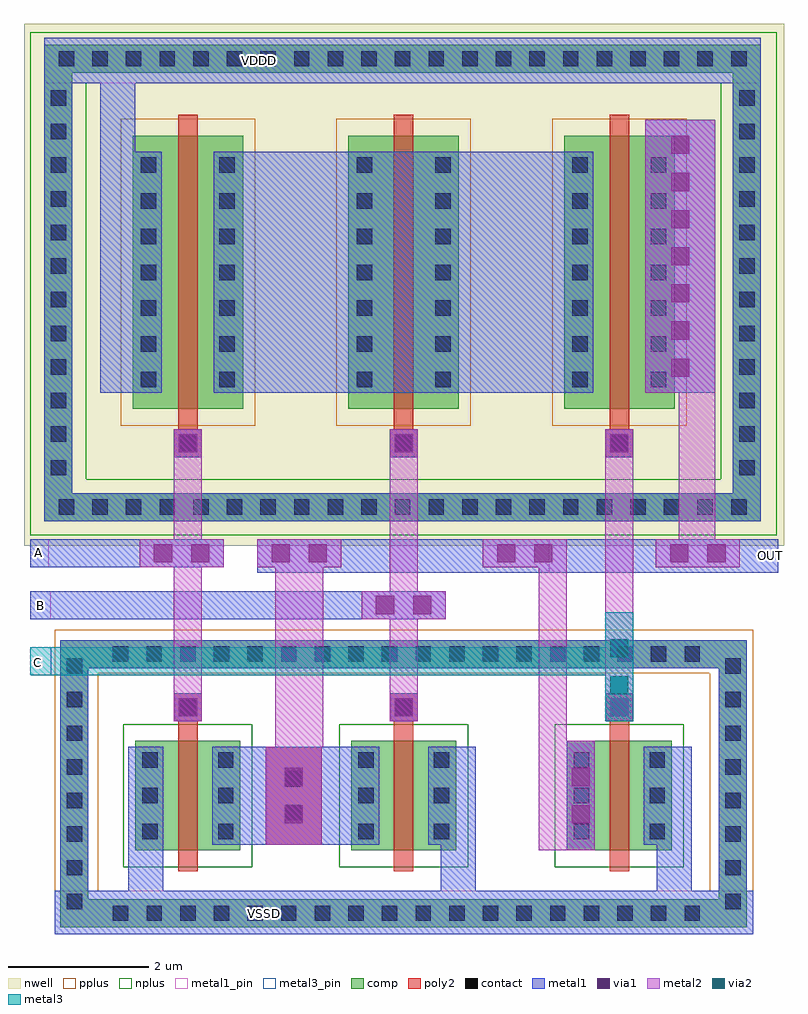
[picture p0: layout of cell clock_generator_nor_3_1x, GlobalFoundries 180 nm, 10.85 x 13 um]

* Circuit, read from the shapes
.subckt clock_generator_nor_3_1x A B C OUT VDDD VSSD
XM1 OUT A VSSD VSSD nfet_03v3 w=1.56u l=0.28u
XM2 VSSD B OUT VSSD nfet_03v3 w=1.56u l=0.28u
XM3 VSSD C OUT VSSD nfet_03v3 w=1.56u l=0.28u
XM4 n1 A VDDD VDDD pfet_03v3 w=3.9u l=0.28u
XM5 n1 B n1 VDDD pfet_03v3 w=3.9u l=0.28u
XM6 OUT C n1 VDDD pfet_03v3 w=3.9u l=0.28u
.ends

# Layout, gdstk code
import gdstk
lib = gdstk.Library(unit=1e-6, precision=1e-09)
def R(c, l, rs):  # rectangles x0, y0, x1, y1
    for r in rs: c.add(gdstk.rectangle(r[:2], r[2:], *l))
def A(c, l, x, y, w, h, nx, ny, dx, dy):  # array of equal rectangles
    R(c, l, [(x+i*dx, y+j*dy, x+i*dx+w, y+j*dy+h) for i in range(nx) for j in range(ny)])
nwell = (21, 0)
comp = (22, 0)
poly2 = (30, 0)
pplus = (31, 0)
nplus = (32, 0)
contact = (33, 0)
metal1 = (34, 0)
metal1_pin = (34, 10)
via1 = (35, 0)
metal2 = (36, 0)
via2 = (38, 0)
metal3 = (42, 0)
metal3_pin = (42, 10)

pfet = lib.new_cell('pfet')
R(pfet, nwell, [(-0.9,-0.44,1.56,4.34)])
R(pfet, comp, [(-0.46,0,0,3.9), (0,0,0.66,3.9), (0.66,0,1.12,3.9)])
R(pfet, poly2, [(0.19,-0.3,0.47,4.2), (0.14,4.2,0.52,4.58)])
R(pfet, pplus, [(-0.63,-0.24,1.29,4.14)])
A(pfet, contact, -0.34, 0.31, 0.22, 0.22, 1, 7, 0, 0.51)
A(pfet, contact, 0.78, 0.31, 0.22, 0.22, 1, 7, 0, 0.51)
R(pfet, contact, [(0.22,4.28,0.44,4.5)])
R(pfet, metal1, [(-0.42,0.23,-0.04,3.67), (0.7,0.23,1.08,3.67), (0.14,4.199,0.52,4.581)])

via_dev = lib.new_cell('via_dev')
R(via_dev, poly2, [(0,0,0.4,0.4)])
R(via_dev, contact, [(0.09,0.09,0.31,0.31)])
R(via_dev, metal1, [(0,0,0.4,0.4)])
R(via_dev, via1, [(0.07,0.07,0.33,0.33)])
R(via_dev, metal2, [(0,0,0.4,0.4)])

via_dev_1 = lib.new_cell('via_dev$1')
R(via_dev_1, metal1, [(0,0,1,3.9)])
A(via_dev_1, via1, 0.37, 0.23, 0.26, 0.26, 1, 7, 0, 0.53)
R(via_dev_1, metal2, [(0,0,1,3.9)])

nfet = lib.new_cell('nfet')
R(nfet, comp, [(-0.42,0,0,1.56), (0,0,0.66,1.56), (0.66,0,1.08,1.56)])
R(nfet, poly2, [(0.19,-0.3,0.47,1.86), (0.15,1.86,0.51,2.22)])
R(nfet, nplus, [(-0.59,-0.24,1.25,1.8)])
A(nfet, contact, -0.32, 0.16, 0.22, 0.22, 1, 3, 0, 0.51)
A(nfet, contact, 0.76, 0.16, 0.22, 0.22, 1, 3, 0, 0.51)
R(nfet, contact, [(0.22,1.93,0.44,2.15)])
R(nfet, metal1, [(-0.4,0.08,-0.02,1.48), (0.68,0.08,1.06,1.48), (0.14,1.849,0.52,2.231)])

via_dev_2 = lib.new_cell('via_dev$2')
R(via_dev_2, comp, [(0,0,0.4,6)])
A(via_dev_2, contact, 0.09, 0.25, 0.22, 0.22, 1, 12, 0, 0.48)
R(via_dev_2, metal1, [(0,0,0.4,6)])

via_dev_3 = lib.new_cell('via_dev$3')
R(via_dev_3, metal1, [(0,0,1.2,0.4)])
R(via_dev_3, via1, [(0.205,0.07,0.465,0.33), (0.735,0.07,0.995,0.33)])
R(via_dev_3, metal2, [(0,0,1.2,0.4)])

via_dev_8 = lib.new_cell('via_dev$8')
R(via_dev_8, comp, [(0,0,10.23,0.4)])
A(via_dev_8, contact, 0.205, 0.09, 0.22, 0.22, 21, 1, 0.48, 0)
R(via_dev_8, metal1, [(0,0,10.23,0.4)])

via_dev_9 = lib.new_cell('via_dev$9')
R(via_dev_9, comp, [(0,0,9.08,0.4)])
A(via_dev_9, contact, 0.35, 0.09, 0.22, 0.22, 18, 1, 0.48, 0)
R(via_dev_9, metal1, [(0,0,9.08,0.4)])

via_dev_6 = lib.new_cell('via_dev$6')
R(via_dev_6, comp, [(0,0,0.4,4.1)])
A(via_dev_6, contact, 0.09, 0.26, 0.22, 0.22, 1, 8, 0, 0.48)
R(via_dev_6, metal1, [(0,0,0.4,4.1)])

via_dev_7 = lib.new_cell('via_dev$7')
R(via_dev_7, poly2, [(0,0,0.8,1.4)])
R(via_dev_7, contact, [(0.29,0.35,0.51,0.57), (0.29,0.83,0.51,1.05)])
R(via_dev_7, metal1, [(0,0,0.8,1.4)])
R(via_dev_7, via1, [(0.27,0.305,0.53,0.565), (0.27,0.835,0.53,1.095)])
R(via_dev_7, metal2, [(0,0,0.8,1.4)])

via_dev_10 = lib.new_cell('via_dev$10')
R(via_dev_10, metal1, [(0,0,0.4,1.56)])
R(via_dev_10, via1, [(0.07,0.385,0.33,0.645), (0.07,0.915,0.33,1.175)])
R(via_dev_10, metal2, [(0,0,0.4,1.56)])

via_dev_12 = lib.new_cell('via_dev$12')
R(via_dev_12, metal2, [(0,0,0.4,1.56)])
R(via_dev_12, via2, [(0.07,0.385,0.33,0.645), (0.07,0.915,0.33,1.175)])
R(via_dev_12, metal3, [(0,0,0.4,1.56)])

clock_generator_nor_3_1x = lib.new_cell('clock_generator_nor_3_1x')
R(clock_generator_nor_3_1x, nwell, [(-1.89,-1.15,8.96,6.3)])
R(clock_generator_nor_3_1x, pplus, [(-1.45,-6.7,-0.83,-2.35), (-1.45,-6.7,7.98,-6.08), (7.9,-6.7,8.52,-2.35), (-1.45,-2.97,7.98,-2.35)])
R(clock_generator_nor_3_1x, nplus, [(-1.8,-1,8.86,-0.2), (-1.8,-0.85,-1,6.05), (8.06,-0.85,8.86,6.1), (-1.8,5.45,8.86,6.18)])
R(clock_generator_nor_3_1x, metal1, [(-1.45,-6.7,8.52,-6.08), (-0.4,-6.29,0.1,-4.02), (4.06,-6.29,4.56,-4.02), (7.14,-6.29,7.64,-4.02), (1.17,-5.42,2.84,-4.02), (-1.8,-2.2,2.93,-1.8), (1.44,-1.54,8.88,-1.06), (-1.8,-1.46,-0.24,-1.06), (-0.8,1.03,-0.3,5.98), (1.2,1.03,2.78,4.47), (1.2,1.03,5.86,4.47), (-1.6,5.45,8.63,6.1)])
R(clock_generator_nor_3_1x, metal1_pin, [(-1.45,-6.7,8.52,-6.08), (-1.8,-2.2,-1.51,-1.8), (5.6,-1.54,8.88,-1.06), (-1.8,-1.46,-1.54,-1.06), (-1.6,5.45,8.63,6.1)])
R(clock_generator_nor_3_1x, metal2, [(5.46,-5.5,5.86,-1.06), (1.7,-4.02,2.38,-1.06), (0.25,-3.26,0.65,0.18), (3.33,-3.26,3.73,0.29), (6.41,-3.26,6.81,0.29), (7.46,-1.2,7.98,1.2)])
R(clock_generator_nor_3_1x, metal3, [(-1.8,-3,6.81,-2.6)])
R(clock_generator_nor_3_1x, metal3_pin, [(-1.8,-3,-1.5,-2.6)])
clock_generator_nor_3_1x.add(gdstk.Reference(pfet, (0.12,4.7), x_reflection=True))
clock_generator_nor_3_1x.add(gdstk.Reference(via_dev, (3.33,-3.66)))
clock_generator_nor_3_1x.add(gdstk.Reference(via_dev, (0.25,0.11)))
clock_generator_nor_3_1x.add(gdstk.Reference(via_dev, (3.33,0.11)))
clock_generator_nor_3_1x.add(gdstk.Reference(via_dev_1, (6.98,1.03)))
clock_generator_nor_3_1x.add(gdstk.Reference(nfet, (0.12,-5.5)))
clock_generator_nor_3_1x.add(gdstk.Reference(via_dev_2, (-1.6,-0.4)))
clock_generator_nor_3_1x.add(gdstk.Reference(via_dev_3, (2.93,-2.2)))
clock_generator_nor_3_1x.add(gdstk.Reference(via_dev_8, (-1.6,5.6)))
clock_generator_nor_3_1x.add(gdstk.Reference(nfet, (3.2,-5.5)))
clock_generator_nor_3_1x.add(gdstk.Reference(via_dev_9, (-0.97,-2.9)))
clock_generator_nor_3_1x.add(gdstk.Reference(via_dev_9, (-0.97,-6.6)))
clock_generator_nor_3_1x.add(gdstk.Reference(via_dev_6, (-1.37,-6.6)))
clock_generator_nor_3_1x.add(gdstk.Reference(via_dev_7, (1.56,-5.42)))
clock_generator_nor_3_1x.add(gdstk.Reference(via_dev, (0.25,-3.66)))
clock_generator_nor_3_1x.add(gdstk.Reference(via_dev_3, (1.44,-1.46)))
clock_generator_nor_3_1x.add(gdstk.Reference(via_dev_3, (7.13,-1.46)))
clock_generator_nor_3_1x.add(gdstk.Reference(pfet, (3.2,4.7), x_reflection=True))
clock_generator_nor_3_1x.add(gdstk.Reference(via_dev_3, (-0.24,-1.46)))
clock_generator_nor_3_1x.add(gdstk.Reference(via_dev_8, (-1.6,-0.8)))
clock_generator_nor_3_1x.add(gdstk.Reference(pfet, (6.28,4.7), x_reflection=True))
clock_generator_nor_3_1x.add(gdstk.Reference(via_dev_2, (8.23,-0.4)))
clock_generator_nor_3_1x.add(gdstk.Reference(via_dev, (6.41,0.11)))
clock_generator_nor_3_1x.add(gdstk.Reference(via_dev_6, (8.03,-6.6)))
clock_generator_nor_3_1x.add(gdstk.Reference(nfet, (6.28,-5.5)))
clock_generator_nor_3_1x.add(gdstk.Reference(via_dev, (6.41,-3.66)))
clock_generator_nor_3_1x.add(gdstk.Reference(via_dev_10, (5.86,-5.5)))
clock_generator_nor_3_1x.add(gdstk.Reference(via_dev_3, (4.66,-1.46)))
clock_generator_nor_3_1x.add(gdstk.Reference(via_dev_12, (6.41,-3.66)))
clock_generator_nor_3_1x.add(gdstk.Label('VDDD', (1.47,5.78), layer=34, texttype=10))
clock_generator_nor_3_1x.add(gdstk.Label('VSSD', (1.54,-6.4), layer=34, texttype=10))
clock_generator_nor_3_1x.add(gdstk.Label('A', (-1.69,-1.25), layer=34, texttype=10))
clock_generator_nor_3_1x.add(gdstk.Label('B', (-1.66,-2), layer=34, texttype=10))
clock_generator_nor_3_1x.add(gdstk.Label('OUT', (8.77,-1.29), layer=34, texttype=10))
clock_generator_nor_3_1x.add(gdstk.Label('C', (-1.698,-2.824), layer=42, texttype=10))

lib.write_gds('clock_generator_nor_3_1x.gds')
